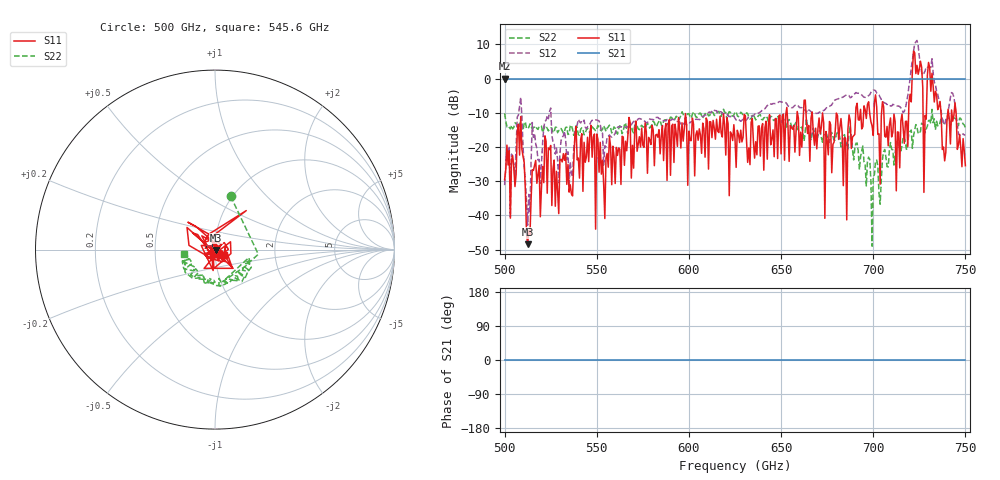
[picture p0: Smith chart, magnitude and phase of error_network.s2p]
# GHz S RI R 50
!freq	ReS11	ImS11	ReS21	ImS21	ReS12	ImS12	ReS22	ImS22
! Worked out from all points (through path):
!   401 points, 500 GHz to 750 GHz, reference 50 ohm
!   highest |S21| = 0.00 dB at 500 GHz (marker M1); lowest = 0.0 dB at 500 GHz (marker M2)
!   lowest |S11| = -48.5 dB at 512.5 GHz (marker M3), VSWR 1.01, Z = 50.3 - j0.203 ohm
!   |S11| at or under -10 dB: start of sweep to 652.7 GHz; 666.9 GHz to 690.5 GHz (23.6 GHz wide, 3.48 % of centre); 705.8 GHz to 719.2 GHz (13.46 GHz wide, 1.89 % of centre)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
!   |S22| runs from -49.0 to -9.0 dB; largest |S21 - S12| = 4.6
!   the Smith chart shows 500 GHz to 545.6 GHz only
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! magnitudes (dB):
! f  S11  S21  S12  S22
! 500 GHz  -29.6  0.0  -31.2  -10.2
! 504.4 GHz  -22.5  0.0  -23.4  -14.7
! 508.1 GHz  -22.4  0.0  -8.1  -13.2
! 512.5 GHz  -48.5  0.0  -42.9  -14.7
! 515.6 GHz  -26.9  0.0  -17.1  -14.3
! 523.8 GHz  -20.3  0.0  -11.7  -15.3
! 535.6 GHz  -31.1  0.0  -24.3  -13.9
! 541.9 GHz  -16.1  0.0  -12.4  -14.4
! 583.8 GHz  -15.0  0.0  -11.7  -12.5
! 625 GHz  -17.6  0.0  -11.6  -9.9
! 666.9 GHz  -9.8  0.0  -10.0  -16.0
! 681.2 GHz  -17.8  0.0  -5.9  -15.8
! 684.4 GHz  -17.2  0.0  -5.1  -16.4
! 699.4 GHz  -13.9  0.0  -3.6  -49.0
! 708.8 GHz  -13.6  0.0  -8.0  -21.1
! 717.5 GHz  -12.5  0.0  -8.6  -19.0
! 722.5 GHz  7.5  0.0  10.2  -14.8
! 727.5 GHz  -33.3  0.0  1.5  -13.4
! 730.6 GHz  3.2  0.0  3.5  -12.2
! 738.1 GHz  -20.0  0.0  -13.0  -12.8
! 743.8 GHz  -10.8  0.0  -5.5  -11.5
! 750 GHz  -25.5  0.0  -16.5  -14.4
